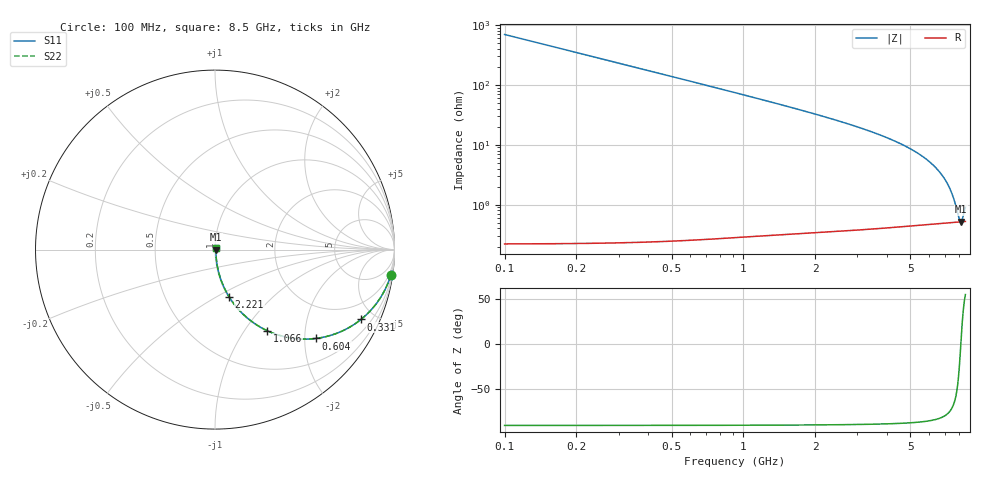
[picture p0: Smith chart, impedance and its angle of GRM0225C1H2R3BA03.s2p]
!Murata Part Number: GRM0225C1H2R3BA03
!These Parameters are Measured in Series Mode Connection
!Data Generated on Mar 30, 2021
!  o--ll--o
!Port1  Port2
!  o------o
!Operation Temp=25[degC], DC Bias Voltage=0[V]
!Freq. Start=100[MHz] Stop=9[GHz] 401[Steps]
# Hz S RI R 50
!Freq.(Hz) S11(Real) S11(Imag) S21(Real) S21(Imag) S12(Real) S12(Imag) S22(Real) S22(Imag)
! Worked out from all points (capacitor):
!   401 points, 100 MHz to 8.5 GHz, reference 50 ohm
!   read as one part in series: C = 2.3 pF near 142 MHz
!   lowest |Z| = 517 mohm at 8.122 GHz (marker M1)
!   series resonance near 8.134 GHz, so ESL is about 170 pH
!   S11 on the Smith chart (normalised r, x): 100 MHz: 1, -14; 331 MHz: 1.00, -4.17; 604 MHz: 1.01, -2.28; 1.066 GHz: 1.01, -1.27; 2.221 GHz: 1.01, -0.57; 8.5 GHz: 1.01, +0.01
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1e8  0.9795 -0.1416  0.0205 0.1416  0.0205 0.1416  0.9795 -0.1416
1.84e8  0.9338 -0.2484  0.0662 0.2484  0.0662 0.2484  0.9338 -0.2484
2.26e8  0.9033 -0.2952  0.0967 0.2952  0.0967 0.2952  0.9033 -0.2952
3.31e8  0.813 -0.3894  0.187 0.3894  0.187 0.3894  0.813 -0.3894
4.57e8  0.6945 -0.4598  0.3055 0.4598  0.3055 0.4598  0.6945 -0.4598
6.04e8  0.5644 -0.4947  0.4356 0.4947  0.4356 0.4947  0.5644 -0.4947
8.35e8  0.4019 -0.4886  0.5981 0.4886  0.5981 0.4886  0.4019 -0.4886
1.066e9  0.2896 -0.4513  0.7104 0.4513  0.7104 0.4513  0.2896 -0.4513
1.507e9  0.1656 -0.3681  0.8344 0.3681  0.8344 0.3681  0.1656 -0.3681
2.221e9  0.079 -0.2638  0.921 0.2638  0.921 0.2638  0.079 -0.2638
2.914e9  0.044 -0.1963  0.956 0.1963  0.956 0.1963  0.044 -0.1963
4.3e9  0.0171 -0.1128  0.9829 0.1128  0.9829 0.1128  0.0171 -0.1128
5.707e9  0.00824 -0.0602  0.9918 0.0602  0.9918 0.0602  0.00824 -0.0602
6.505e9  0.0062 -0.0375  0.9938 0.0375  0.9938 0.0375  0.0062 -0.0375
7.114e9  0.00543 -0.0224  0.9946 0.0224  0.9946 0.0224  0.00543 -0.0224
7.513e9  0.00519 -0.0132  0.9948 0.0132  0.9948 0.0132  0.00519 -0.0132
7.702e9  0.00514 -0.00909  0.9949 0.00909  0.9949 0.00909  0.00514 -0.00909
7.996e9  0.00512 -0.00285  0.9949 0.00285  0.9949 0.00285  0.00512 -0.00285
8.122e9  0.00514 -0.000248  0.9949 0.000248  0.9949 0.000248  0.00514 -0.000248
8.185e9  0.00515 0.00104  0.9948 -0.00104  0.9948 -0.00104  0.00515 0.00104
8.248e9  0.00517 0.00231  0.9948 -0.00231  0.9948 -0.00231  0.00517 0.00231
8.5e9  0.00527 0.00732  0.9947 -0.00732  0.9947 -0.00732  0.00527 0.00732
